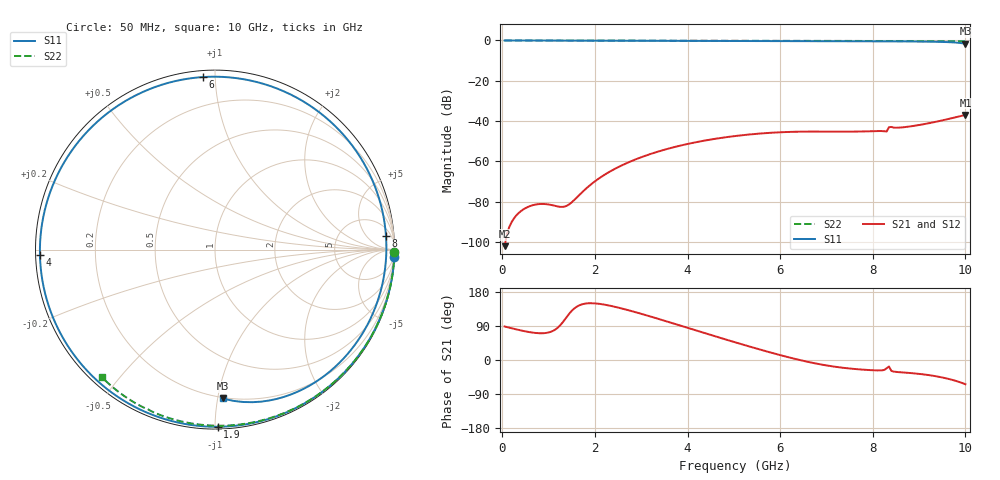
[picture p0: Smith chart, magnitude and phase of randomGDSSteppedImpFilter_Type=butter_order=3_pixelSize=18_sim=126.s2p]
! freq	dB(S11)	phase(S11)	dB(S12)	phase(S12)
!  dB(S21)	phase(S21)	dB(S22)	phase(S22)
!S-par simulation data
#  GHz  S  DB  R 50
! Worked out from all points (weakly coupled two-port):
!   200 points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, 50 MHz to 10 GHz, reference 50 ohm
!   highest |S21| = -36.93 dB at 10 GHz (marker M1); lowest = -102.0 dB at 50 MHz (marker M2)
!   lowest |S11| = -1.6 dB at 10 GHz (marker M3), VSWR 10.80, Z = 9.66 - j51.7 ohm
!   |S11| at or under -10 dB: nowhere
!   |S22| runs from -0.4 to 0.0 dB; largest |S21 - S12| = 0
!   S11 on the Smith chart (normalised r, x): 50 MHz: 0, -47; 1.9 GHz: 0.01, -1.01; 4 GHz: 0.01, -0.02; 6 GHz: 0.03, +0.93; 8 GHz: 11, +19; 10 GHz: 0.19, -1.03
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0.05  -0.00 -2.5  -101.97 88.5  -101.97 88.5  -0.00 -0.8
0.7  -0.05 -33.9  -81.43 71.6  -81.43 71.6  -0.01 -10.6
1.1  -0.07 -52.8  -81.76 77.2  -81.76 77.2  -0.02 -16.6
1.5  -0.09 -71.2  -80.23 129.8  -80.23 129.8  -0.03 -22.6
1.75  -0.10 -82.5  -74.67 147.8  -74.67 147.8  -0.03 -26.3
1.9  -0.11 -89.2  -71.64 149.9  -71.64 149.9  -0.04 -28.5
2.6  -0.15 -119.5  -61.71 135.3  -61.71 135.3  -0.05 -38.7
3.4  -0.18 -153.1  -54.84 107.5  -54.84 107.5  -0.07 -50.1
4  -0.21 -178.1  -51.31 84.9  -51.31 84.9  -0.08 -58.4
4.5  -0.24 160.7  -49.11 66.1  -49.11 66.1  -0.09 -65.2
5.05  -0.27 136.8  -47.32 45.9  -47.32 45.9  -0.11 -72.4
5.55  -0.30 114.6  -46.17 28.1  -46.17 28.1  -0.13 -78.9
6  -0.32 94.1  -45.51 12.9  -45.51 12.9  -0.15 -84.6
6.7  -0.34 61.9  -45.17 -7.5  -45.17 -7.5  -0.18 -93.3
7.35  -0.36 32.5  -45.22 -20.4  -45.22 -20.4  -0.22 -101.2
8  -0.39 4.4  -44.97 -27.0  -44.97 -27.0  -0.26 -108.9
8.3  -0.42 -8.0  -45.11 -21.7  -45.11 -21.7  -0.31 -112.4
8.35  -0.42 -10.1  -42.99 -17.2  -42.99 -17.2  -0.31 -112.9
8.8  -0.48 -28.2  -42.64 -34.2  -42.64 -34.2  -0.33 -118.1
9.3  -0.62 -48.7  -40.62 -41.5  -40.62 -41.5  -0.37 -123.8
9.7  -0.91 -67.5  -38.57 -51.9  -38.57 -51.9  -0.41 -128.3
10  -1.61 -87.1  -36.93 -63.9  -36.93 -63.9  -0.45 -131.7
